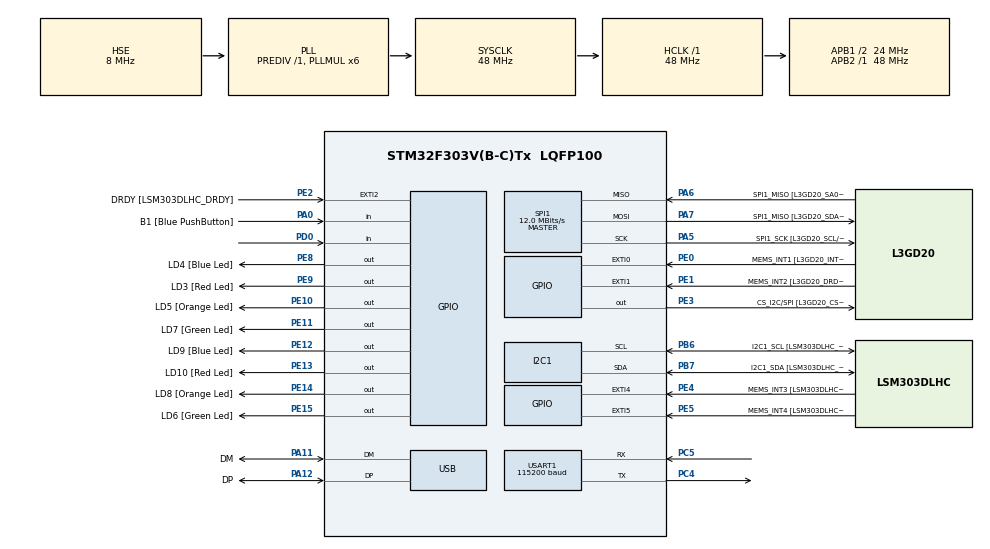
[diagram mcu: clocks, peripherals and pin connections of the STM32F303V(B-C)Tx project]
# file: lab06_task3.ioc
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I2C1.Timing=0x00201D2B
I2C1.Timing-I2C=0x2000090E
Mcu.Family=STM32F3
Mcu.Name=STM32F303V(B-C)Tx
Mcu.Package=LQFP100
NVIC.PriorityGroup=NVIC_PRIORITYGROUP_0
PA0.GPIO_Label=B1 [Blue PushButton]
PA0.Signal=GPIO_Input
PA11.GPIO_Label=DM
PA11.Mode=Device
PA11.Signal=USB_DM
PA12.GPIO_Label=DP
PA12.Mode=Device
PA12.Signal=USB_DP
PA13.GPIO_Label=SWDIO
PA13.Mode=Serial_Wire
PA13.Signal=SYS_JTMS-SWDIO
PA14.GPIO_Label=SWCLK
PA14.Mode=Serial_Wire
PA14.Signal=SYS_JTCK-SWCLK
PA15.Signal=S_TIM2_CH1_ETR
PA5.GPIO_Label=SPI1_SCK [L3GD20_SCL/SPC]
PA5.Mode=Full_Duplex_Master
PA5.Signal=SPI1_SCK
PA6.GPIO_Label=SPI1_MISO [L3GD20_SA0/SDO]
PA6.Mode=Full_Duplex_Master
PA6.Signal=SPI1_MISO
PA7.GPIO_Label=SPI1_MISO [L3GD20_SDA/SDI/SDO]
PA7.Mode=Full_Duplex_Master
PA7.Signal=SPI1_MOSI
PB3.GPIO_Label=SWO
PB3.Signal=SYS_JTDO-TRACESWO
PB6.GPIO_Label=I2C1_SCL [LSM303DLHC_SCL]
PB6.GPIO_Pu=GPIO_PULLUP
PB6.Mode=I2C
PB6.Signal=I2C1_SCL
PB7.GPIO_Label=I2C1_SDA [LSM303DLHC_SDA]
PB7.GPIO_Pu=GPIO_PULLUP
PB7.Mode=I2C
PB7.Signal=I2C1_SDA
PC14-OSC32_IN.GPIO_Label=OSC32_IN
PC14-OSC32_IN.Signal=RCC_OSC32_IN
PC15-OSC32_OUT.GPIO_Label=OSC32_OUT
PC15-OSC32_OUT.Signal=RCC_OSC32_OUT
PC4.Mode=Asynchronous
PC4.Signal=USART1_TX
PC5.Mode=Asynchronous
PC5.Signal=USART1_RX
PD0.Signal=GPIO_Input
PE0.GPIO_Label=MEMS_INT1 [L3GD20_INT1]
PE0.GPIO_ModeDefaultEXTI=GPIO_MODE_EVT_RISING
PE0.Signal=GPXTI0
PE1.GPIO_Label=MEMS_INT2 [L3GD20_DRDY/INT2]
PE1.GPIO_ModeDefaultEXTI=GPIO_MODE_EVT_RISING
PE1.Signal=GPXTI1
PE10.GPIO_Label=LD5 [Orange Led]
PE10.Signal=GPIO_Output
PE11.GPIO_Label=LD7 [Green Led]
PE11.Signal=GPIO_Output
PE12.GPIO_Label=LD9 [Blue Led]
PE12.Signal=GPIO_Output
PE13.GPIO_Label=LD10 [Red Led]
PE13.Signal=GPIO_Output
PE14.GPIO_Label=LD8 [Orange Led]
PE14.Signal=GPIO_Output
PE15.GPIO_Label=LD6 [Green Led]
PE15.Signal=GPIO_Output
PE2.GPIO_Label=DRDY [LSM303DLHC_DRDY]
PE2.GPIO_ModeDefaultEXTI=GPIO_MODE_EVT_RISING
PE2.Signal=GPXTI2
PE3.GPIO_Label=CS_I2C/SPI [L3GD20_CS_I2C/SPI]
PE3.Signal=GPIO_Output
PE4.GPIO_Label=MEMS_INT3 [LSM303DLHC_INT1]
PE4.GPIO_ModeDefaultEXTI=GPIO_MODE_EVT_RISING
PE4.Signal=GPXTI4
PE5.GPIO_Label=MEMS_INT4 [LSM303DLHC_INT2]
PE5.GPIO_ModeDefaultEXTI=GPIO_MODE_EVT_RISING
PE5.Signal=GPXTI5
PE8.GPIO_Label=LD4 [Blue Led]
PE8.Signal=GPIO_Output
PE9.GPIO_Label=LD3 [Red Led]
PE9.Signal=GPIO_Output
PF0-OSC_IN.GPIO_Label=OSC_IN
PF0-OSC_IN.Mode=HSE-External-Clock-Source
PF0-OSC_IN.Signal=RCC_OSC_IN
PF1-OSC_OUT.GPIO_Label=OSC_OUT
PF1-OSC_OUT.Signal=RCC_OSC_OUT
ProjectManager.HeapSize=0x200
ProjectManager.StackSize=0x400
ProjectManager.TargetToolchain=CMake
RCC.AHBFreq_Value=48000000
RCC.APB1CLKDivider=RCC_HCLK_DIV2
RCC.APB1Freq_Value=24000000
RCC.APB1TimFreq_Value=48000000
RCC.APB2Freq_Value=48000000
RCC.APB2TimFreq_Value=48000000
RCC.CortexFreq_Value=48000000
RCC.HCLKFreq_Value=48000000
RCC.HSE_VALUE=8000000
RCC.HSI_VALUE=8000000
RCC.LSE_VALUE=32768
RCC.PLLMUL=RCC_PLL_MUL6
RCC.SYSCLKFreq_VALUE=48000000
RCC.SYSCLKSourceVirtual=RCC_SYSCLKSOURCE_PLLCLK
RCC.USBFreq_Value=48000000
SH.S_TIM2_CH1_ETR.0=TIM2_CH1
SPI1.BaudRatePrescaler=SPI_BAUDRATEPRESCALER_4
SPI1.BaudRatePrescaler-Full_Duplex_Master=SPI_BAUDRATEPRESCALER_2
SPI1.CalculateBaudRate=12.0 MBits/s
SPI1.CalculateBaudRate-Full_Duplex_Master=24.0 MBits/s
SPI1.Direction=SPI_DIRECTION_2LINES
SPI1.Mode=SPI_MODE_MASTER
SPI1.Mode-Full_Duplex_Master=SPI_MODE_MASTER
SPI1.VirtualType=VM_MASTER
TIM3.Prescaler=47
USART1.BaudRate=115200
USART1.VirtualMode-Asynchronous=VM_ASYNC
VP_TIM3_VS_ClockSourceINT.Mode=Internal
board=STM32F3DISCOVERY

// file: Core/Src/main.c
/* USER CODE BEGIN Header */
/**
  ******************************************************************************
  * @file           : main.c
  * @brief          : Main program body
  ******************************************************************************
  * @attention
  *
  * Copyright (c) 2026 STMicroelectronics.
  * All rights reserved.
  *
  * This software is licensed under terms that can be found in the LICENSE file
  * in the root directory of this software component.
  * If no LICENSE file comes with this software, it is provided AS-IS.
  *
  ******************************************************************************
  */
/* USER CODE END Header */
#include "main.h"

/* USER CODE BEGIN Includes */
#include <stdio.h>
/* USER CODE END Includes */

/* USER CODE BEGIN PD */

#define SAMPLES 10
#define PPR 330

/* USER CODE END PD */

I2C_HandleTypeDef hi2c1;

SPI_HandleTypeDef hspi1;

TIM_HandleTypeDef htim3;

UART_HandleTypeDef huart1;

PCD_HandleTypeDef hpcd_USB_FS;

/* USER CODE BEGIN PV */

uint32_t periods[SAMPLES];
uint32_t averagePeriod = 0;
uint32_t frequency = 0;
uint32_t rpm = 0;

/* USER CODE END PV */

void SystemClock_Config(void);
static void MX_GPIO_Init(void);
static void MX_I2C1_Init(void);
static void MX_SPI1_Init(void);
static void MX_USART1_UART_Init(void);
static void MX_USB_PCD_Init(void);
static void MX_TIM3_Init(void);

/* USER CODE BEGIN 0 */

int _write(int file, char *ptr, int len)
{
    HAL_UART_Transmit(&huart1, (uint8_t *)ptr, len, HAL_MAX_DELAY);
    return len;
}

/* USER CODE END 0 */

int main(void)
{

  /* MCU Configuration--------------------------------------------------------*/

  /* Reset of all peripherals, Initializes the Flash interface and the Systick. */
  HAL_Init();

  /* Configure the system clock */
  SystemClock_Config();

  /* Initialize all configured peripherals */
  MX_GPIO_Init();
  MX_I2C1_Init();
  MX_SPI1_Init();
  MX_USART1_UART_Init();
  MX_USB_PCD_Init();
  MX_TIM3_Init();
  /* USER CODE BEGIN 2 */

  HAL_TIM_Base_Start(&htim3);

  /* USER CODE END 2 */

  /* Infinite loop */
  while (1)
  {

    /* USER CODE BEGIN 3 */

    uint64_t sum = 0;

    /* Take 10 samples */
    for (int i = 0; i < SAMPLES; i++)
    {
        /* Wait for first falling edge */
        while (HAL_GPIO_ReadPin(GPIOD, GPIO_PIN_0) == GPIO_PIN_RESET);
        while (HAL_GPIO_ReadPin(GPIOD, GPIO_PIN_0) == GPIO_PIN_SET);

        /* First falling edge */
        __HAL_TIM_SET_COUNTER(&htim3, 0);

        /* Wait for second falling edge */
        while (HAL_GPIO_ReadPin(GPIOD, GPIO_PIN_0) == GPIO_PIN_RESET);
        while (HAL_GPIO_ReadPin(GPIOD, GPIO_PIN_0) == GPIO_PIN_SET);
        /* Second falling edge */
        periods[i] = __HAL_TIM_GET_COUNTER(&htim3);
    }

    /* Add 10 periods */
    for (int i = 0; i < SAMPLES; i++)
    {
        sum = sum + periods[i];
    }

    /* Average */
    averagePeriod = sum / SAMPLES;

    if (averagePeriod != 0)
    {
    frequency = 1000000 / averagePeriod;
    rpm = (60 * frequency) / PPR;
    printf("Average Period: %d us\r\n", averagePeriod);
    printf("Frequency: %d Hz\r\n", frequency);
    printf("RPM: %d\r\n", rpm);
    }

    HAL_Delay(500);

  }
  /* USER CODE END 3 */
}

void SystemClock_Config(void)
{
  RCC_OscInitTypeDef RCC_OscInitStruct = {0};
  RCC_ClkInitTypeDef RCC_ClkInitStruct = {0};
  RCC_PeriphCLKInitTypeDef PeriphClkInit = {0};

  /** Initializes the RCC Oscillators according to the specified parameters
  * in the RCC_OscInitTypeDef structure.
  */
  RCC_OscInitStruct.OscillatorType = RCC_OSCILLATORTYPE_HSI|RCC_OSCILLATORTYPE_HSE;
  RCC_OscInitStruct.HSEState = RCC_HSE_BYPASS;
  RCC_OscInitStruct.HSEPredivValue = RCC_HSE_PREDIV_DIV1;
  RCC_OscInitStruct.HSIState = RCC_HSI_ON;
  RCC_OscInitStruct.HSICalibrationValue = RCC_HSICALIBRATION_DEFAULT;
  RCC_OscInitStruct.PLL.PLLState = RCC_PLL_ON;
  RCC_OscInitStruct.PLL.PLLSource = RCC_PLLSOURCE_HSE;
  RCC_OscInitStruct.PLL.PLLMUL = RCC_PLL_MUL6;
  if (HAL_RCC_OscConfig(&RCC_OscInitStruct) != HAL_OK)
  {
    Error_Handler();
  }

  /** Initializes the CPU, AHB and APB buses clocks
  */
  RCC_ClkInitStruct.ClockType = RCC_CLOCKTYPE_HCLK|RCC_CLOCKTYPE_SYSCLK
                              |RCC_CLOCKTYPE_PCLK1|RCC_CLOCKTYPE_PCLK2;
  RCC_ClkInitStruct.SYSCLKSource = RCC_SYSCLKSOURCE_PLLCLK;
  RCC_ClkInitStruct.AHBCLKDivider = RCC_SYSCLK_DIV1;
  RCC_ClkInitStruct.APB1CLKDivider = RCC_HCLK_DIV2;
  RCC_ClkInitStruct.APB2CLKDivider = RCC_HCLK_DIV1;

  if (HAL_RCC_ClockConfig(&RCC_ClkInitStruct, FLASH_LATENCY_1) != HAL_OK)
  {
    Error_Handler();
  }
  PeriphClkInit.PeriphClockSelection = RCC_PERIPHCLK_USB|RCC_PERIPHCLK_USART1
                              |RCC_PERIPHCLK_I2C1;
  PeriphClkInit.Usart1ClockSelection = RCC_USART1CLKSOURCE_PCLK2;
  PeriphClkInit.I2c1ClockSelection = RCC_I2C1CLKSOURCE_HSI;
  PeriphClkInit.USBClockSelection = RCC_USBCLKSOURCE_PLL;
  if (HAL_RCCEx_PeriphCLKConfig(&PeriphClkInit) != HAL_OK)
  {
    Error_Handler();
  }
}

static void MX_I2C1_Init(void)
{

  hi2c1.Instance = I2C1;
  hi2c1.Init.Timing = 0x00201D2B;
  hi2c1.Init.OwnAddress1 = 0;
  hi2c1.Init.AddressingMode = I2C_ADDRESSINGMODE_7BIT;
  hi2c1.Init.DualAddressMode = I2C_DUALADDRESS_DISABLE;
  hi2c1.Init.OwnAddress2 = 0;
  hi2c1.Init.OwnAddress2Masks = I2C_OA2_NOMASK;
  hi2c1.Init.GeneralCallMode = I2C_GENERALCALL_DISABLE;
  hi2c1.Init.NoStretchMode = I2C_NOSTRETCH_DISABLE;
  if (HAL_I2C_Init(&hi2c1) != HAL_OK)
  {
    Error_Handler();
  }

  /** Configure Analogue filter
  */
  if (HAL_I2CEx_ConfigAnalogFilter(&hi2c1, I2C_ANALOGFILTER_ENABLE) != HAL_OK)
  {
    Error_Handler();
  }

  /** Configure Digital filter
  */
  if (HAL_I2CEx_ConfigDigitalFilter(&hi2c1, 0) != HAL_OK)
  {
    Error_Handler();
  }

}

static void MX_SPI1_Init(void)
{

  /* SPI1 parameter configuration*/
  hspi1.Instance = SPI1;
  hspi1.Init.Mode = SPI_MODE_MASTER;
  hspi1.Init.Direction = SPI_DIRECTION_2LINES;
  hspi1.Init.DataSize = SPI_DATASIZE_4BIT;
  hspi1.Init.CLKPolarity = SPI_POLARITY_LOW;
  hspi1.Init.CLKPhase = SPI_PHASE_1EDGE;
  hspi1.Init.NSS = SPI_NSS_SOFT;
  hspi1.Init.BaudRatePrescaler = SPI_BAUDRATEPRESCALER_4;
  hspi1.Init.FirstBit = SPI_FIRSTBIT_MSB;
  hspi1.Init.TIMode = SPI_TIMODE_DISABLE;
  hspi1.Init.CRCCalculation = SPI_CRCCALCULATION_DISABLE;
  hspi1.Init.CRCPolynomial = 7;
  hspi1.Init.CRCLength = SPI_CRC_LENGTH_DATASIZE;
  hspi1.Init.NSSPMode = SPI_NSS_PULSE_ENABLE;
  if (HAL_SPI_Init(&hspi1) != HAL_OK)
  {
    Error_Handler();
  }

}

static void MX_TIM3_Init(void)
{

  TIM_ClockConfigTypeDef sClockSourceConfig = {0};
  TIM_MasterConfigTypeDef sMasterConfig = {0};

  htim3.Instance = TIM3;
  htim3.Init.Prescaler = 47;
  htim3.Init.CounterMode = TIM_COUNTERMODE_UP;
  htim3.Init.Period = 65535;
  htim3.Init.ClockDivision = TIM_CLOCKDIVISION_DIV1;
  htim3.Init.AutoReloadPreload = TIM_AUTORELOAD_PRELOAD_DISABLE;
  if (HAL_TIM_Base_Init(&htim3) != HAL_OK)
  {
    Error_Handler();
  }
  sClockSourceConfig.ClockSource = TIM_CLOCKSOURCE_INTERNAL;
  if (HAL_TIM_ConfigClockSource(&htim3, &sClockSourceConfig) != HAL_OK)
  {
    Error_Handler();
  }
  sMasterConfig.MasterOutputTrigger = TIM_TRGO_RESET;
  sMasterConfig.MasterSlaveMode = TIM_MASTERSLAVEMODE_DISABLE;
  if (HAL_TIMEx_MasterConfigSynchronization(&htim3, &sMasterConfig) != HAL_OK)
  {
    Error_Handler();
  }

}

static void MX_USART1_UART_Init(void)
{

  huart1.Instance = USART1;
  huart1.Init.BaudRate = 115200;
  huart1.Init.WordLength = UART_WORDLENGTH_8B;
  huart1.Init.StopBits = UART_STOPBITS_1;
  huart1.Init.Parity = UART_PARITY_NONE;
  huart1.Init.Mode = UART_MODE_TX_RX;
  huart1.Init.HwFlowCtl = UART_HWCONTROL_NONE;
  huart1.Init.OverSampling = UART_OVERSAMPLING_16;
  huart1.Init.OneBitSampling = UART_ONE_BIT_SAMPLE_DISABLE;
  huart1.AdvancedInit.AdvFeatureInit = UART_ADVFEATURE_NO_INIT;
  if (HAL_UART_Init(&huart1) != HAL_OK)
  {
    Error_Handler();
  }

}

static void MX_USB_PCD_Init(void)
{

  hpcd_USB_FS.Instance = USB;
  hpcd_USB_FS.Init.dev_endpoints = 8;
  hpcd_USB_FS.Init.speed = PCD_SPEED_FULL;
  hpcd_USB_FS.Init.phy_itface = PCD_PHY_EMBEDDED;
  hpcd_USB_FS.Init.low_power_enable = DISABLE;
  hpcd_USB_FS.Init.battery_charging_enable = DISABLE;
  if (HAL_PCD_Init(&hpcd_USB_FS) != HAL_OK)
  {
    Error_Handler();
  }

}

static void MX_GPIO_Init(void)
{
  GPIO_InitTypeDef GPIO_InitStruct = {0};

  /* GPIO Ports Clock Enable */
  __HAL_RCC_GPIOE_CLK_ENABLE();
  __HAL_RCC_GPIOC_CLK_ENABLE();
  __HAL_RCC_GPIOF_CLK_ENABLE();
  __HAL_RCC_GPIOA_CLK_ENABLE();
  __HAL_RCC_GPIOD_CLK_ENABLE();
  __HAL_RCC_GPIOB_CLK_ENABLE();

  /*Configure GPIO pin Output Level */
  HAL_GPIO_WritePin(GPIOE, CS_I2C_SPI_Pin|LD4_Pin|LD3_Pin|LD5_Pin
                          |LD7_Pin|LD9_Pin|LD10_Pin|LD8_Pin
                          |LD6_Pin, GPIO_PIN_RESET);

  /*Configure GPIO pins : DRDY_Pin MEMS_INT3_Pin MEMS_INT4_Pin MEMS_INT1_Pin
                           MEMS_INT2_Pin */
  GPIO_InitStruct.Pin = DRDY_Pin|MEMS_INT3_Pin|MEMS_INT4_Pin|MEMS_INT1_Pin
                          |MEMS_INT2_Pin;
  GPIO_InitStruct.Mode = GPIO_MODE_EVT_RISING;
  GPIO_InitStruct.Pull = GPIO_NOPULL;
  HAL_GPIO_Init(GPIOE, &GPIO_InitStruct);

  /*Configure GPIO pins : CS_I2C_SPI_Pin LD4_Pin LD3_Pin LD5_Pin
                           LD7_Pin LD9_Pin LD10_Pin LD8_Pin
                           LD6_Pin */
  GPIO_InitStruct.Pin = CS_I2C_SPI_Pin|LD4_Pin|LD3_Pin|LD5_Pin
                          |LD7_Pin|LD9_Pin|LD10_Pin|LD8_Pin
                          |LD6_Pin;
  GPIO_InitStruct.Mode = GPIO_MODE_OUTPUT_PP;
  GPIO_InitStruct.Pull = GPIO_NOPULL;
  GPIO_InitStruct.Speed = GPIO_SPEED_FREQ_LOW;
  HAL_GPIO_Init(GPIOE, &GPIO_InitStruct);

  /*Configure GPIO pin : B1_Pin */
  GPIO_InitStruct.Pin = B1_Pin;
  GPIO_InitStruct.Mode = GPIO_MODE_INPUT;
  GPIO_InitStruct.Pull = GPIO_NOPULL;
  HAL_GPIO_Init(B1_GPIO_Port, &GPIO_InitStruct);

  /*Configure GPIO pin : PA15 */
  GPIO_InitStruct.Pin = GPIO_PIN_15;
  GPIO_InitStruct.Mode = GPIO_MODE_AF_PP;
  GPIO_InitStruct.Pull = GPIO_NOPULL;
  GPIO_InitStruct.Speed = GPIO_SPEED_FREQ_LOW;
  GPIO_InitStruct.Alternate = GPIO_AF1_TIM2;
  HAL_GPIO_Init(GPIOA, &GPIO_InitStruct);

  /*Configure GPIO pin : PD0 */
  GPIO_InitStruct.Pin = GPIO_PIN_0;
  GPIO_InitStruct.Mode = GPIO_MODE_INPUT;
  GPIO_InitStruct.Pull = GPIO_NOPULL;
  HAL_GPIO_Init(GPIOD, &GPIO_InitStruct);

}

void Error_Handler(void)
{
  __disable_irq();
  while (1)
  {
  }
}
